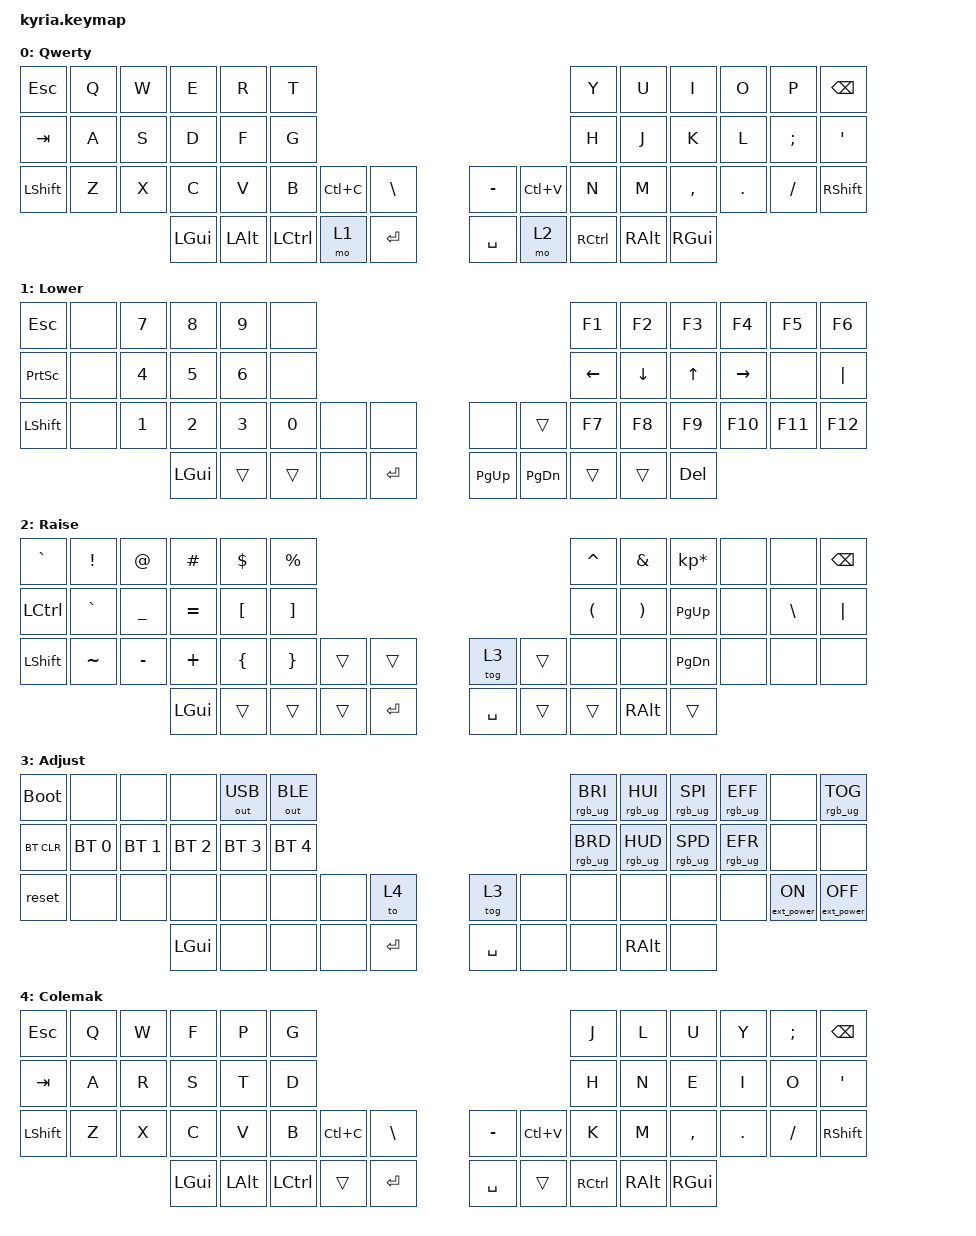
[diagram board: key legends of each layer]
/*
 * Copyright (c) 2020 The ZMK Contributors
 *
 * SPDX-License-Identifier: MIT
 */

#include <behaviors.dtsi>
#include <dt-bindings/zmk/keys.h>
#include <dt-bindings/zmk/bt.h>
#include <dt-bindings/zmk/rgb.h>
#include <dt-bindings/zmk/outputs.h>
#include <dt-bindings/zmk/ext_power.h>

#define DEFAULT 0
#define LOWER   1
#define RAISE   2
#define ADJUST  3
#define COLEMAK 4


// START bypass issue with RGB ug with nicenano2

&spi1 {
	compatible = "nordic,nrf-spim";
	status = "okay";
	mosi-pin = <6>;
	// Unused pins, needed for SPI definition, but not used by the ws2812 driver itself.
	sck-pin = <5>;
	miso-pin = <7>;

	led_strip: ws2812@0 {
		compatible = "worldsemi,ws2812-spi";
		label = "WS2812";

		/* SPI */
		reg = <0>; /* ignored, but necessary for SPI bindings */
		spi-max-frequency = <4000000>;

		/* WS2812 */
		chain-length = <20>; /* arbitrary; change at will */
		spi-one-frame = <0x70>;
		spi-zero-frame = <0x40>;
	};
};

/ {
	chosen {
		zmk,underglow = &led_strip;
	};
};

// END bypass issue with RGB ug with nicenano2


/ {
	keymap {
		compatible = "zmk,keymap";

		default_layer {
			label = "Qwerty";
// ---------------------------------------------------------------------------------------------------------------------------------
// |  ESC  |  Q  |  W  |  E   |  R   |  T     |                                          |  Y   |  U    |  I    |  O   |   P   | BSPC |
// |  TAB  |  A  |  S  |  D   |  F   |  G     |                                          |  H   |  J    |  K    |  L   |   ;   |   '  |
// | SHIFT |  Z  |  X  |  C   |  V   |  B     |  COPY   |  \ "|"  |  |    -_   |  PASTE  |  N   |  M    |  ,    |  .   |   /   | SHIFT|
//                     | GUI  | LALT | LCTRL  |  MO1	| RETURN  |  |  SPACE  |  MO2    | RCTRL| RALT  | GUI   |
			
			bindings = <
	&kp ESC   &kp Q &kp W    &kp E    &kp R    &kp T                                                              &kp Y     &kp U    &kp I     &kp O   &kp P    &kp BSPC
	&kp TAB   &kp A &kp S    &kp D    &kp F    &kp G                                                              &kp H     &kp J    &kp K     &kp L   &kp SEMI &kp SQT
	&kp LSHFT &kp Z &kp X    &kp C    &kp V    &kp B         &kp LC(C)  &kp BSLH           &kp MINUS  &kp LC(V)   &kp N     &kp M    &kp COMMA &kp DOT &kp FSLH &kp RSHFT
	                         &kp LGUI &kp LALT &kp LCTRL     &mo 1      &kp RET            &kp SPACE  &mo 2       &kp RCTRL &kp RALT &kp RGUI
			>;
		};
		
		lower_layer {
			label = "Lower";
// -----------------------------------------------------------------------------------------
// |  ESC |     |  7  |  8  |  9  |     |                           |  F1 |  F2 |  F3 |  F4 |  F5 | F6   |
// | PSCRN|     |  4  |  5  |  6  |     |                           | LFT | DWN |  UP | RGT |     | "|"  |
// | SHFT |     |  1  |  2  |  3  |  0  |    |     ||       |       |  F7 |  F8 |  F9 | F10 | F11 | F12  |
//                    | GUI |     |     |    | RET || PG UP | PG DN |     |     | DEL |
                        
            bindings = <
   &kp ESC    &none        &kp N7       &kp N8       &kp N9       &none                                                  &kp F1    &kp F2   &kp F3   &kp F4    &kp F5  &kp F6
   &kp PSCRN  &none        &kp N4       &kp N5       &kp N6       &none                                                  &kp LEFT  &kp DOWN &kp UP   &kp RIGHT &none   &kp PIPE
   &kp LSHFT  &none        &kp N1       &kp N2       &kp N3       &kp N0    &none    &none       &none       &trans      &kp F7    &kp F8   &kp F9   &kp F10   &kp F11 &kp F12
                                        &kp LGUI     &trans       &trans    &none    &kp RET     &kp PG_UP   &kp PG_DN   &trans    &trans   &kp DEL
            >;
        };

        raise_layer {
        	label = "Raise";
// -----------------------------------------------------------------------------------------
// |  `   |  !  |  @  |  #  |  $  |  %  |                       |  ^  |  &  |  *  |  (  |  )  | BKSP |
// | CTRL |  `  |  _  |  =  |  [  |  ]  |                       |  (  |  )  | Pup |     |  \  |      |
// | SHFT |  ~  |  -  |  +  |  {  |  }  |   | tog4  || tog3 |   |     |     | PDn |     | "|" |      |
//                    | GUI |     |     |   | SPC   || SPC  |   |     | ALT |     |
                        
            bindings = <
   &kp GRAVE &kp EXCL    &kp AT      &kp HASH    &kp DLLR  &kp PRCNT                                             &kp CARET &kp AMPS  &kp KP_MULTIPLY &none     &none     &kp BSPC
   &kp LCTRL &kp GRAVE   &kp UNDER   &kp EQUAL   &kp LBKT  &kp RBKT                                              &kp LPAR  &kp RPAR  &kp PG_UP       &none     &kp BSLH  &kp PIPE
   &kp LSHFT &kp TILDE   &kp MINUS   &kp PLUS    &kp LBRC  &kp RBRC  &trans      &trans      &tog 3    &trans    &none     &none     &kp PG_DN       &none     &none     &none
                                     &kp LGUI    &trans    &trans    &trans      &kp RET     &kp SPACE &trans    &trans    &kp RALT  &trans
            >;
        };

        adjust_layer {
        	label = "Adjust";
// -----------------------------------------------------------------------------------------
// | BootLo |     |     |     | Out USB | Out BLE |                             |rgb bri up  |rgb HUI | RGB_SPI   | RGB_EFF   |        | rgb on/off |
// | BTCLR  | BT0 | BT1 | BT2 | BT3     | BT4     |                             |rgb bri down|rgb HUD | RGB_SPD   | RGB_EFR   |        |            |
// | reset  |     |     |     |         |         |      | tog4  || tog3 |      |            |        |           |           | vcc on | vcc off    |
//                      | GUI |         |         |      | SPC   || SPC  |      |            |        | ALT       |
                        
            bindings = <  
   &bootloader &none        &none        &none        &out OUT_USB &out OUT_BLE                                         &rgb_ug RGB_BRI  &rgb_ug RGB_HUI  &rgb_ug RGB_SPI  &rgb_ug RGB_EFF  &none             &rgb_ug RGB_TOG
   &bt BT_CLR  &bt BT_SEL 0 &bt BT_SEL 1 &bt BT_SEL 2 &bt BT_SEL 3 &bt BT_SEL 4                                         &rgb_ug RGB_BRD  &rgb_ug RGB_HUD  &rgb_ug RGB_SPD  &rgb_ug RGB_EFR  &none             &none
   &reset      &none        &none        &none        &none        &none        &none   &to 4       &tog 3      &none   &none            &none            &none            &none            &ext_power EP_ON  &ext_power EP_OFF
                                         &kp LGUI     &none        &none        &none   &kp RET     &kp SPACE   &none   &none            &kp RALT         &none
            >;
        };

////////////////////
		colemak_layer {
			label = "Colemak";
// ---------------------------------------------------------------------------------------------------------------------------------
// |  ESC  |  Q  |  W  |  F   |  P   |  G     |                                          |  J   |  L    |  U    |  Y   |   ;   | BSPC |
// |  TAB  |  A  |  R  |  S   |  T   |  D     |                                          |  H   |  N    |  E    |  I   |   O   |   '  |
// | SHIFT |  Z  |  X  |  C   |  V   |  B     |  COPY   |  \ "|"  |  |   -_    |  PASTE  |  K   |  M    |  ,    |  .   |   /   | SHIFT|
//                     | GUI  | LALT | LCTRL  |  MO1	| RETURN  |  |  SPACE  |  MO2    | RCTRL| RALT  | GUI   |
			
			bindings = <
	&kp ESC   &kp Q  &kp W   &kp F    &kp P    &kp G                                                        &kp J     &kp L    &kp U     &kp Y   &kp SEMI &kp BSPC
	&kp TAB   &kp A  &kp R   &kp S    &kp T    &kp D                                                        &kp H     &kp N    &kp E     &kp I   &kp O    &kp SQT
	&kp LSHFT &kp Z  &kp X   &kp C    &kp V    &kp B       &kp LC(C)  &kp BSLH       &kp MINUS  &kp LC(V)   &kp K     &kp M    &kp COMMA &kp DOT &kp FSLH &kp RSHFT
	                         &kp LGUI &kp LALT &kp LCTRL   &trans     &kp RET        &kp SPACE  &trans      &kp RCTRL &kp RALT &kp RGUI
			>;
		};


///////////////////

	};
};
